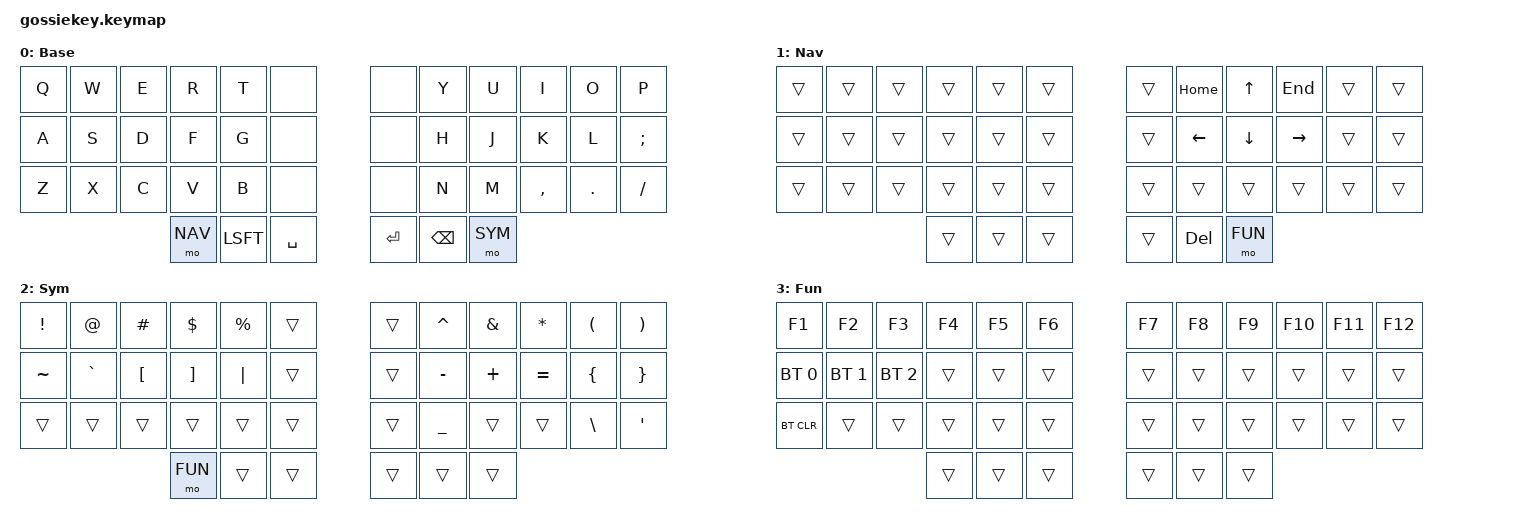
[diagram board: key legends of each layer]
// GossieKey keymap
// 3×5+3 split — 36 keys total (18 per side)
//
// Physical position reference:
//   Left  cols 0-5  →  RC(row, 0-5)
//   Right cols 6-11 →  RC(row, 6-11)
//
// For a 3×5+3 layout, the outer columns (col 0 left, col 11 right)
// and the inner three bottom keys per side are used as "extras" or thumbs.
// Adjust RC positions below to match your physical layout.
//
//  Row 0: [ 0][ 1][ 2][ 3][ 4][ 5]  [ 6][ 7][ 8][ 9][10][11]
//  Row 1: [ 0][ 1][ 2][ 3][ 4][ 5]  [ 6][ 7][ 8][ 9][10][11]
//  Row 2: [ 0][ 1][ 2][ 3][ 4][ 5]  [ 6][ 7][ 8][ 9][10][11]
//            \_______thumbs_______/  \_______thumbs_______/
//                 (cols 3,4,5)            (cols 6,7,8)

#include <behaviors.dtsi>
#include <dt-bindings/zmk/keys.h>
#include <dt-bindings/zmk/bt.h>

#define DEF 0
#define NAV 1
#define SYM 2
#define FUN 3

/ {
    keymap {
        compatible = "zmk,keymap";

        default_layer {
            display-name = "Base";
            bindings = <
// ╭──────┬──────┬──────┬──────┬──────┬──────╮   ╭──────┬──────┬──────┬──────┬──────┬──────╮
    &kp Q  &kp W  &kp E  &kp R  &kp T  &none      &none  &kp Y  &kp U  &kp I  &kp O  &kp P
// ├──────┼──────┼──────┼──────┼──────┼──────┤   ├──────┼──────┼──────┼──────┼──────┼──────┤
    &kp A  &kp S  &kp D  &kp F  &kp G  &none      &none  &kp H  &kp J  &kp K  &kp L  &kp SEMI
// ├──────┼──────┼──────┼──────┼──────┼──────┤   ├──────┼──────┼──────┼──────┼──────┼──────┤
    &kp Z  &kp X  &kp C  &kp V  &kp B  &none      &none  &kp N  &kp M  &kp COMMA &kp DOT &kp FSLH
// ╰──────┴──────┴──────┼──────┼──────┼──────┤   ├──────┼──────┼──────┼──────┴──────┴──────╯
                        &mo NAV &kp LSFT &kp SPC  &kp RET &kp BSPC &mo SYM
//                      ╰──────┴──────┴──────╯   ╰──────┴──────┴──────╯
            >;
        };

        nav_layer {
            display-name = "Nav";
            bindings = <
    &trans &trans &trans &trans &trans &trans     &trans &kp HOME &kp UP   &kp END   &trans    &trans
    &trans &trans &trans &trans &trans &trans     &trans &kp LEFT &kp DOWN &kp RIGHT &trans    &trans
    &trans &trans &trans &trans &trans &trans     &trans &trans   &trans   &trans    &trans    &trans
                        &trans &trans &trans      &trans &kp DEL  &mo FUN
            >;
        };

        sym_layer {
            display-name = "Sym";
            bindings = <
    &kp EXCL &kp AT  &kp HASH &kp DLLR &kp PRCNT &trans   &trans &kp CARET &kp AMPS &kp STAR &kp LPAR &kp RPAR
    &kp TILDE &kp GRAVE &kp LBKT &kp RBKT &kp PIPE &trans  &trans &kp MINUS &kp PLUS &kp EQUAL &kp LBRC &kp RBRC
    &trans &trans &trans &trans &trans &trans               &trans &kp UNDER &trans   &trans   &kp BSLH &kp SQT
                        &mo FUN &trans &trans               &trans &trans    &trans
            >;
        };

        fun_layer {
            display-name = "Fun";
            bindings = <
    &kp F1  &kp F2  &kp F3  &kp F4  &kp F5  &kp F6    &kp F7  &kp F8  &kp F9  &kp F10 &kp F11 &kp F12
    &bt BT_SEL 0 &bt BT_SEL 1 &bt BT_SEL 2 &trans &trans &trans &trans &trans &trans &trans &trans &trans
    &bt BT_CLR &trans &trans &trans &trans &trans        &trans &trans &trans &trans &trans &trans
                              &trans &trans &trans        &trans &trans &trans
            >;
        };
    };
};
